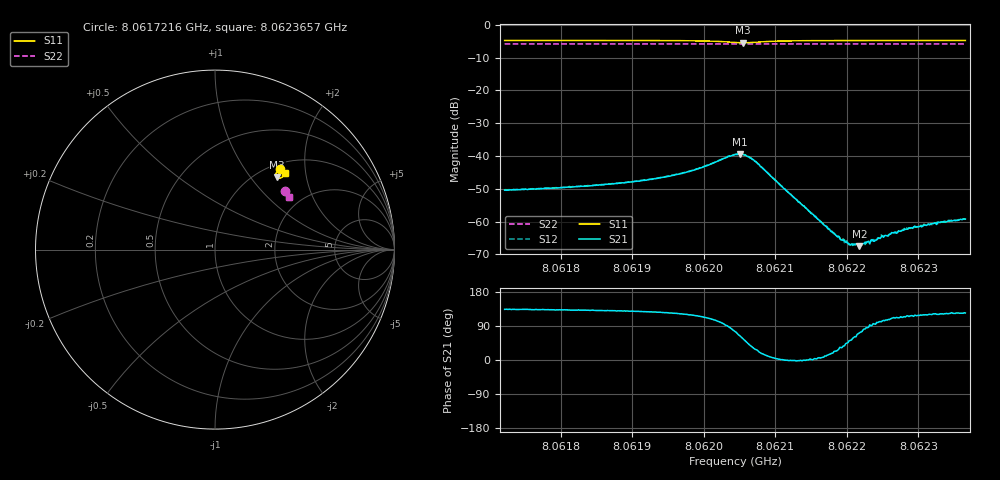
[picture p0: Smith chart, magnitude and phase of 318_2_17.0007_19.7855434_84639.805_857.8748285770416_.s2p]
#  HZ  S  RI  R  50.00
! Rohde & Schwarz Vector Network Analyzer
! Rohde-Schwarz,ZNB20-2Port,1311601062101988,3.16
! Created: UTC 3/20/2024, 11:06:18 PM
! freq[Hz]  re:S11  im:S11  re:S21  im:S21  re:S12  im:S12  re:S22  im:S22
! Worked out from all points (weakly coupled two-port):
!   401 points, 8.0617216 GHz to 8.0623657 GHz, reference 50 ohm
!   highest |S21| = -39.43 dB at 8.0620501 GHz (marker M1); lowest = -67.5 dB at 8.0622176 GHz (marker M2)
!   lowest |S11| = -5.5 dB at 8.0620549 GHz (marker M3), VSWR 3.26, Z = 61 + j68.3 ohm
!   |S11| at or under -10 dB: nowhere
!   |S22| runs from -5.9 to -5.8 dB; largest |S21 - S12| = 0.00076
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8.06172158e9  0.3598 0.4498  -0.00208 0.00219  -0.00196 0.00231  0.3921 0.3269
8.06182947e9  0.3672 0.4433  -0.00228 0.00259  -0.00212 0.00272  0.396 0.3216
8.06189067e9  0.3718 0.4387  -0.00247 0.00305  -0.00233 0.00321  0.3984 0.3185
8.06193737e9  0.3757 0.4337  -0.00271 0.00373  -0.00249 0.00391  0.4002 0.3161
8.06198407e9  0.3798 0.4248  -0.00284 0.00529  -0.00257 0.00549  0.4018 0.3135
8.06204366e9  0.361 0.3978  0.00261 0.0102  0.00334 0.00999  0.4027 0.3097
8.0620501e9  0.3526 0.3987  0.00461 0.00964  0.00528 0.0093  0.4026 0.3096
8.06205493e9  0.3467 0.402  0.00588 0.00877  0.00643 0.00839  0.4025 0.3095
8.06207265e9  0.3391 0.4226  0.00721 0.00378  0.00756 0.00326  0.4031 0.3097
8.06215156e9  0.3678 0.4384  0.00131 1.79e-05  0.00133 -8.61e-05  0.4073 0.3063
8.06217571e9  0.3717 0.4369  0.000742 0.000201  0.000731 0.000138  0.4083 0.3049
8.06219504e9  0.3743 0.4357  0.000412 0.000309  0.000456 0.000302  0.4089 0.304
8.0622047e9  0.3753 0.4351  0.000272 0.000343  0.000288 0.000334  0.4093 0.3036
8.06221759e9  0.3768 0.4343  0.000134 0.0004  0.000145 0.00043  0.4098 0.3029
8.06222403e9  0.3774 0.4339  6.65e-05 0.000458  0.000105 0.000439  0.4101 0.3026
8.06224013e9  0.3789 0.4329  -3.91e-05 0.00052  -2.62e-05 0.000541  0.4106 0.3016
8.0622514e9  0.3799 0.4322  -0.000146 0.000559  -0.000124 0.000575  0.4111 0.301
8.06225946e9  0.3806 0.4318  -0.000183 0.000613  -0.000168 0.000617  0.4116 0.3006
8.06229167e9  0.3831 0.4299  -0.000357 0.000702  -0.000346 0.00072  0.4126 0.2991
8.06230455e9  0.3841 0.4291  -0.000395 0.000732  -0.000422 0.00076  0.413 0.2985
8.06233032e9  0.3859 0.4277  -0.000513 0.000817  -0.000482 0.000863  0.4138 0.2969
8.06236574e9  0.3883 0.4257  -0.000613 0.000903  -0.000558 0.000941  0.415 0.2953
